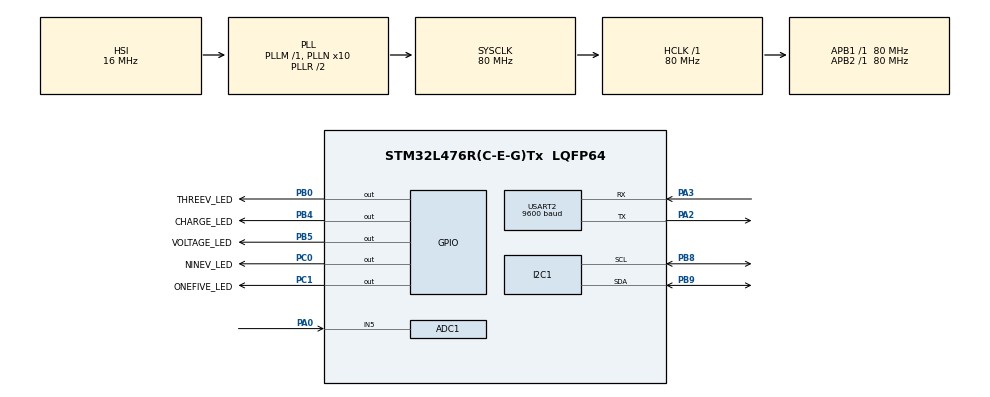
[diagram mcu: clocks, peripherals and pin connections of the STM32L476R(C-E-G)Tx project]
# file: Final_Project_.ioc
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ADC1.Channel-0\#ChannelRegularConversion=ADC_CHANNEL_5
ADC1.NbrOfConversionFlag=1
ADC1.OffsetNumber-0\#ChannelRegularConversion=ADC_OFFSET_NONE
ADC1.Rank-0\#ChannelRegularConversion=1
ADC1.SamplingTime-0\#ChannelRegularConversion=ADC_SAMPLETIME_2CYCLES_5
ADC1.master=1
I2C1.Timing=0x10D19CE4
Mcu.Family=STM32L4
Mcu.Name=STM32L476R(C-E-G)Tx
Mcu.Package=LQFP64
NVIC.PriorityGroup=NVIC_PRIORITYGROUP_4
NVIC.TIM1_UP_TIM16_IRQn=true\:0\:0\:false\:false\:true\:true\:true\:true
NVIC.USART2_IRQn=true\:0\:0\:false\:false\:true\:true\:true\:true
PA0.Signal=ADCx_IN5
PA13\ (JTMS-SWDIO).GPIO_Label=TMS
PA13\ (JTMS-SWDIO).Mode=Serial_Wire
PA13\ (JTMS-SWDIO).Signal=SYS_JTMS-SWDIO
PA14\ (JTCK-SWCLK).GPIO_Label=TCK
PA14\ (JTCK-SWCLK).Mode=Serial_Wire
PA14\ (JTCK-SWCLK).Signal=SYS_JTCK-SWCLK
PA2.Mode=Asynchronous
PA2.Signal=USART2_TX
PA3.Mode=Asynchronous
PA3.Signal=USART2_RX
PB0.GPIO_Label=THREEV_LED
PB0.Signal=GPIO_Output
PB3\ (JTDO-TRACESWO).GPIO_Label=SWO
PB3\ (JTDO-TRACESWO).Signal=SYS_JTDO-SWO
PB4\ (NJTRST).GPIO_Label=CHARGE_LED
PB4\ (NJTRST).Signal=GPIO_Output
PB5.GPIO_Label=VOLTAGE_LED
PB5.Signal=GPIO_Output
PB8.Mode=I2C
PB8.Signal=I2C1_SCL
PB9.Mode=I2C
PB9.Signal=I2C1_SDA
PC0.GPIO_Label=NINEV_LED
PC0.Signal=GPIO_Output
PC1.GPIO_Label=ONEFIVE_LED
PC1.Signal=GPIO_Output
PC14-OSC32_IN\ (PC14).Mode=LSE-External-Oscillator
PC14-OSC32_IN\ (PC14).Signal=RCC_OSC32_IN
PC15-OSC32_OUT\ (PC15).Mode=LSE-External-Oscillator
PC15-OSC32_OUT\ (PC15).Signal=RCC_OSC32_OUT
PH0-OSC_IN\ (PH0).Signal=RCC_OSC_IN
PH1-OSC_OUT\ (PH1).Signal=RCC_OSC_OUT
ProjectManager.HeapSize=0x200
ProjectManager.StackSize=0x400
ProjectManager.TargetToolchain=STM32CubeIDE
RCC.ADCFreq_Value=64000000
RCC.AHBFreq_Value=80000000
RCC.APB1Freq_Value=80000000
RCC.APB1TimFreq_Value=80000000
RCC.APB2Freq_Value=80000000
RCC.APB2TimFreq_Value=80000000
RCC.CortexFreq_Value=80000000
RCC.HCLKFreq_Value=80000000
RCC.HSE_VALUE=8000000
RCC.HSI_VALUE=16000000
RCC.MSI_VALUE=4000000
RCC.PLLN=10
RCC.PLLSourceVirtual=RCC_PLLSOURCE_HSI
RCC.PREFETCH_ENABLE=1
RCC.SYSCLKFreq_VALUE=80000000
RCC.SYSCLKSource=RCC_SYSCLKSOURCE_PLLCLK
RCC.USBFreq_Value=64000000
RCC.VCOOutputFreq_Value=160000000
SH.ADCx_IN5.0=ADC1_IN5,IN5-Single-Ended
TIM16.Period=999
TIM16.Prescaler=7999
USART2.BaudRate=9600
USART2.VirtualMode-Asynchronous=VM_ASYNC
VP_TIM16_VS_ClockSourceINT.Mode=Enable_Timer
board=NUCLEO-L476RG

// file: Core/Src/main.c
/* USER CODE BEGIN Header */
/**
  ******************************************************************************
  * @file           : main.c
  * @brief          : Main program body
  ******************************************************************************
  * @attention
  *
  * Copyright (c) 2025 STMicroelectronics.
  * All rights reserved.
  *
  * This software is licensed under terms that can be found in the LICENSE file
  * in the root directory of this software component.
  * If no LICENSE file comes with this software, it is provided AS-IS.
  *
  ******************************************************************************
  */
/* USER CODE END Header */
#include "main.h"

/* USER CODE BEGIN Includes */
#include "string.h"  // library for C strings
#include <stdbool.h> // library for bool data type
#include <stdio.h>

/* USER CODE END Includes */

/* USER CODE BEGIN PM */

#define I2C_ADDR 0x27 // I2C address of the PCF8574
#define RS_BIT 0 // Register select bit
#define EN_BIT 2 // Enable bit
#define BL_BIT 3 // Backlight bit
#define D4_BIT 4 // Data 4 bit
#define D5_BIT 5 // Data 5 bit
#define D6_BIT 6 // Data 6 bit
#define D7_BIT 7 // Data 7 bit
#define LCD_ROWS 2 // Number of rows on the LCD
#define LCD_COLS 16 // Number of columns on the LCD
#define UART_DELAY 100 // wait max of 100 ms between frames in message
#define MAX_MESSAGE_SIZE 100 // 100 characters maximum message size

/* USER CODE END PM */

ADC_HandleTypeDef hadc1;

I2C_HandleTypeDef hi2c1;

TIM_HandleTypeDef htim16;

UART_HandleTypeDef huart2;

/* USER CODE BEGIN PV */
uint8_t backlight_state = 1;  // State of the black light of the LCD
uint8_t message[MAX_MESSAGE_SIZE]  = {0}; // char array to store message received
uint8_t response[MAX_MESSAGE_SIZE] = {0}; // char array to store response message
uint8_t uart2_byte; // byte received from UART2
uint8_t buffer_position = 0; // how many bytes received so far

// Variables for volate and percetange calculation
float battery_voltage;
float battery_percentage;
float nivev_measurement_max = 3640.1;
float onefivev_measurement_max = 603.0;
float threev_measurement_max = 1204.5;

// Variables for selecting the different types of batterys that will be measured
bool ninev_battery = false;
bool one_fivev_battery = false;
bool threev_battery = false;

// Variable that helps in resetting the system
bool reset_system = false;

/* USER CODE END PV */

void SystemClock_Config(void);
static void MX_GPIO_Init(void);
static void MX_ADC1_Init(void);
static void MX_TIM16_Init(void);
static void MX_I2C1_Init(void);
static void MX_USART2_UART_Init(void);
/* USER CODE BEGIN PFP */

// Functions that help displaying the voltage and percentage
void display_voltage(float battery_voltage);
void display_charge(float battery_percentage);

// Functions that help calculating the voltage
float threev_voltage(float battery_percentage);
float onefivev_voltage(float battery_percentage);
float ninev_voltage(float battery_percentage);

// Functions that help calculating the percentage
float ninev_percentage(uint16_t analog_measurement);
float onefivev_percentage(uint16_t analog_measurement);
float threev_percentage(uint16_t analog_measurement);

/* USER CODE END PFP */

/* USER CODE BEGIN 0 */

/* THESE FUNCTIONS HELP IN SETTING UP THE LCD */

// This function helps in creating the data or command htat will be sent
void lcd_write_nibble(uint8_t nibble, uint8_t rs)
{
	uint8_t data = nibble << D4_BIT;
	data |= rs << RS_BIT;
	data |= backlight_state << BL_BIT; // Include backlight state in data
	data |= 1 << EN_BIT;
	HAL_I2C_Master_Transmit(&hi2c1, I2C_ADDR << 1, &data, 1, 100);
	HAL_Delay(1);
	data &= ~(1 << EN_BIT);
	HAL_I2C_Master_Transmit(&hi2c1, I2C_ADDR << 1, &data, 1, 100);
}

// THis function helps in sending the command into the LCD
void lcd_send_cmd(uint8_t cmd)
{
	uint8_t upper_nibble = cmd >> 4;
	uint8_t lower_nibble = cmd & 0x0F;
	lcd_write_nibble(upper_nibble, 0);
	lcd_write_nibble(lower_nibble, 0);

	if (cmd == 0x01 || cmd == 0x02)
	{
		HAL_Delay(2);
	}

}

// This function helps in sending the data into the LCD
void lcd_send_data(uint8_t data)
{
	uint8_t upper_nibble = data >> 4;
	uint8_t lower_nibble = data & 0x0F;
	lcd_write_nibble(upper_nibble, 1);
	lcd_write_nibble(lower_nibble, 1);
}

// This function helps in initialzing the LCD
void lcd_init()
{
	HAL_Delay(50);
	lcd_write_nibble(0x03, 0);
	HAL_Delay(5);
	lcd_write_nibble(0x03, 0);
	HAL_Delay(1);
	lcd_write_nibble(0x03, 0);
	HAL_Delay(1);
	lcd_write_nibble(0x02, 0);
	lcd_send_cmd(0x28);
	lcd_send_cmd(0x0C);
	lcd_send_cmd(0x06);
	lcd_send_cmd(0x01);
	HAL_Delay(2);
}

// This function helps in writing into the LCD
void lcd_write_string(char *str)
{
	while (*str)
	{
		lcd_send_data(*str++);
	}
}

// This function helps in the setting the cursor on the LCD
void lcd_set_cursor(uint8_t row, uint8_t column)
{
	uint8_t address;
	switch (row)
	{
		case 0:
		address = 0x00;
		break;
		case 1:
		address = 0x40;
		break;
		default:
		address = 0x00;
	}

	address += column;
	lcd_send_cmd(0x80 | address);
}

// This function clears the LCD
void lcd_clear(void)
{
	lcd_send_cmd(0x01);
	HAL_Delay(2);
}

// This function sets the state of the backlight
void lcd_backlight(uint8_t state)
{
	if (state)
	{
		backlight_state = 1;
	}

	else
	{
		backlight_state = 0;
	}
}

// LCD DISPLAY FUNCTIONS

// Function to display the voltage on the LCD
void display_voltage(float battery_voltage) {
    char buffer[16];
    sprintf(buffer, "Voltage: %.1fV", battery_voltage);  // Format the voltage string
    lcd_set_cursor(0, 0);  // Set cursor to the first row
    lcd_write_string(buffer);  // Display the voltage value on the LCD

}

// Function to display the charge percentage on the LCD
void display_charge(float battery_percentage) {
    char buffer[16];
    sprintf(buffer, "Charge: %.1f%%", battery_percentage);  // Format the charge percentage string
    lcd_set_cursor(1, 0);  // Set cursor to the second row
    lcd_write_string(buffer);  // Display the charge percentage on the LCD

}

// END LCD DISPLAY FUNCTIONS

// 9 VOLTS BATTERY CALCULATION FUNCTIONS //

// This function calculates the percentage for nine volt batteries
float ninev_percentage(uint16_t analog_measurement)
{
	  // Calculating percentage
	  battery_percentage = (analog_measurement / nivev_measurement_max ) * 100;

	  // Return value
	  return battery_percentage;

} // End of function

// This function calculates the volts for nine volt batteries
float ninev_voltage(float battery_percentage)
{
	  // Calculating voltage
	  battery_voltage = (battery_percentage * 9.0) / 100;

	  // Return value
	  return battery_voltage;

}	// End of function

// END OF 9 VOLTS BATTERY CALCULATION FUNCTIONS //

// 1.5 VOLTS BATTERY CALCULATION FUNCTIONS //

// This function calculates the percentage for 1.5 volt batteries
float onefivev_percentage(uint16_t analog_measurement)
{
	  // Calculating percentage
	  battery_percentage = (analog_measurement / onefivev_measurement_max ) * 100;

	  // Return value
	  return battery_percentage;

}	// End of function

// This function calculates the volts for 1.5 volt batteries
float onefivev_voltage(float battery_percentage)
{
	  // Calculating voltage
	  battery_voltage = (battery_percentage * 1.5) / 100;

	  // Return value
	  return battery_voltage;

}	// End of function

// END OF 1.5 VOLTS BATTERY CALCULATION FUNCTIONS //

// 3 VOLTS BATTERY CALCULATION FUNCTIONS //

// This function calculates the percentage for 3 volt batteries
float threev_percentage(uint16_t analog_measurement)
{
	  // Calculating percentage
	  battery_percentage = (analog_measurement / threev_measurement_max ) * 100;

	  // Return value
	  return battery_percentage;

} // End of function

// This function calculates the voltage for 3 volt batteries
float threev_voltage(float battery_percentage)
{
	  // Calculating voltage
	  battery_voltage = (battery_percentage * 3.0) / 100;

	  // Return value
	  return battery_voltage;

} // End of function

// END OF 3 VOLTS BATTERY CALCULATION FUNCTIONS //

// This function makes sure that the percentage values are valid percentages
float percentage_bounds(float battery_percentage)
{
	  // If that checks if the battery percentage is less than a valid number
	  if (battery_percentage < 0)
	  {
		  // Percentage is 0
		  battery_percentage = 0.0;

		  // Return correct value
		  return battery_percentage;

	  } // End of if

	  // If that checks if the battery percentage is greater than a valid number
	  else if (battery_percentage > 100)
	  {
		  // Percentage is 100
		  battery_percentage = 100.0;

		  // Return the correct value
		  return battery_percentage;

	  } // End of else if

	  // Return the good value
	  return battery_percentage;

} // End of function

/* USER CODE END 0 */

int main(void)
{

  /* MCU Configuration--------------------------------------------------------*/

  /* Reset of all peripherals, Initializes the Flash interface and the Systick. */
  HAL_Init();

  /* Configure the system clock */
  SystemClock_Config();

  /* Initialize all configured peripherals */
  MX_GPIO_Init();
  MX_ADC1_Init();
  MX_TIM16_Init();
  MX_I2C1_Init();
  MX_USART2_UART_Init();
  /* USER CODE BEGIN 2 */

  HAL_TIM_Base_Start_IT(&htim16); // Start Timer16

  // I2C pull-up resistors
  GPIOB->PUPDR |= 0b01 << (8*2);
  GPIOB->PUPDR |= 0b01 << (9*2);

  // Initialize the LCD
  lcd_init();
  lcd_backlight(1); // Turn on backlight

  HAL_UART_Receive_IT(&huart2, &uart2_byte, 1); // put byte from UART2 in "uart2_byte"

  /* USER CODE END 2 */

  /* Infinite loop */
  while (1)
  {

    /* USER CODE BEGIN 3 */

	  // Start ADC Conversion
	  HAL_ADC_Start(&hadc1);

	  // Wait for ADC conversion to complete
	  HAL_ADC_PollForConversion(&hadc1, HAL_MAX_DELAY);

	  // Read ADC value
	  uint16_t analog_measurement = HAL_ADC_GetValue(&hadc1);

	  // Delay 1 ms
	  HAL_Delay(1);

	  // If the view 9v battery message was displayed
	  if (ninev_battery)
	  {
		  // Calculate the percentage
		  battery_percentage = ninev_percentage(analog_measurement);

		  // Correct bounds of battery percentage
		  battery_percentage = percentage_bounds(battery_percentage);

		  // Calculate the voltage
		  battery_voltage = ninev_voltage(battery_percentage);

		  // if the other types were activated
		  if (one_fivev_battery || threev_battery)
		  {
			  // Clear LCD and turn off other battery types
			  lcd_clear();
			  one_fivev_battery = false;
			  threev_battery = false;

		  } // End of if

		  // Show the voltage on LCD
	      display_voltage(battery_voltage);
		  // Show the charge percentage on LCD
		  display_charge(battery_percentage);

	  } // End of if

	  // If the view 1.5v battery message was displayed
	  if (one_fivev_battery)
	  {
		  // Calculate the percentage
		  battery_percentage = onefivev_percentage(analog_measurement);

		  // Correct bounds of battery percentage
		  battery_percentage = percentage_bounds(battery_percentage);

		  // Calculate the voltage
		  battery_voltage = onefivev_voltage(battery_percentage);

		  // if the other types were activated
		  if (ninev_battery || threev_battery)
		  {
			  // Clear LCD and turn off other battery types
			  lcd_clear();
			  ninev_battery = false;
			  threev_battery = false;

		  } // End of if

		  // SHow the voltage on LCD
	      display_voltage(battery_voltage);
		  // Show the charge percentage on LCD
		  display_charge(battery_percentage);

	  } // End of if

	  // If the view 9v battery message was displayed
	  if (threev_battery)
	  {
		  // Calculate the percentage
		  battery_percentage = threev_percentage(analog_measurement);

		  // Correct bounds of battery percentage
		  battery_percentage = percentage_bounds(battery_percentage);

		  // Calculate the voltage
		  battery_voltage = threev_voltage(battery_percentage);

		  // if the other types were activated
		  if (one_fivev_battery || ninev_battery)
		  {
			  // Clear LCD and turn off other battery types
			  lcd_clear();
			  one_fivev_battery = false;
			  ninev_battery = false;

		  } // End of if

		  // Show the voltage on LCD
	      display_voltage(battery_voltage);
		  // Show the charge percentage on LCD
		  display_charge(battery_percentage);

	  } // End of if

	  // If the reset sequence was activated
	  if(reset_system)
	  {
		  // Clear the screen
		  lcd_clear();

		  // Stop reset sequence
		  reset_system = false;

	  } // End of if

  } // End of while loop

  /* USER CODE END 3 */
}

void SystemClock_Config(void)
{
  RCC_OscInitTypeDef RCC_OscInitStruct = {0};
  RCC_ClkInitTypeDef RCC_ClkInitStruct = {0};

  /** Configure the main internal regulator output voltage
  */
  if (HAL_PWREx_ControlVoltageScaling(PWR_REGULATOR_VOLTAGE_SCALE1) != HAL_OK)
  {
    Error_Handler();
  }

  /** Initializes the RCC Oscillators according to the specified parameters
  * in the RCC_OscInitTypeDef structure.
  */
  RCC_OscInitStruct.OscillatorType = RCC_OSCILLATORTYPE_HSI;
  RCC_OscInitStruct.HSIState = RCC_HSI_ON;
  RCC_OscInitStruct.HSICalibrationValue = RCC_HSICALIBRATION_DEFAULT;
  RCC_OscInitStruct.PLL.PLLState = RCC_PLL_ON;
  RCC_OscInitStruct.PLL.PLLSource = RCC_PLLSOURCE_HSI;
  RCC_OscInitStruct.PLL.PLLM = 1;
  RCC_OscInitStruct.PLL.PLLN = 10;
  RCC_OscInitStruct.PLL.PLLP = RCC_PLLP_DIV7;
  RCC_OscInitStruct.PLL.PLLQ = RCC_PLLQ_DIV2;
  RCC_OscInitStruct.PLL.PLLR = RCC_PLLR_DIV2;
  if (HAL_RCC_OscConfig(&RCC_OscInitStruct) != HAL_OK)
  {
    Error_Handler();
  }

  /** Initializes the CPU, AHB and APB buses clocks
  */
  RCC_ClkInitStruct.ClockType = RCC_CLOCKTYPE_HCLK|RCC_CLOCKTYPE_SYSCLK
                              |RCC_CLOCKTYPE_PCLK1|RCC_CLOCKTYPE_PCLK2;
  RCC_ClkInitStruct.SYSCLKSource = RCC_SYSCLKSOURCE_PLLCLK;
  RCC_ClkInitStruct.AHBCLKDivider = RCC_SYSCLK_DIV1;
  RCC_ClkInitStruct.APB1CLKDivider = RCC_HCLK_DIV1;
  RCC_ClkInitStruct.APB2CLKDivider = RCC_HCLK_DIV1;

  if (HAL_RCC_ClockConfig(&RCC_ClkInitStruct, FLASH_LATENCY_4) != HAL_OK)
  {
    Error_Handler();
  }
}

static void MX_ADC1_Init(void)
{

  ADC_MultiModeTypeDef multimode = {0};
  ADC_ChannelConfTypeDef sConfig = {0};

  /** Common config
  */
  hadc1.Instance = ADC1;
  hadc1.Init.ClockPrescaler = ADC_CLOCK_ASYNC_DIV1;
  hadc1.Init.Resolution = ADC_RESOLUTION_12B;
  hadc1.Init.DataAlign = ADC_DATAALIGN_RIGHT;
  hadc1.Init.ScanConvMode = ADC_SCAN_DISABLE;
  hadc1.Init.EOCSelection = ADC_EOC_SINGLE_CONV;
  hadc1.Init.LowPowerAutoWait = DISABLE;
  hadc1.Init.ContinuousConvMode = DISABLE;
  hadc1.Init.NbrOfConversion = 1;
  hadc1.Init.DiscontinuousConvMode = DISABLE;
  hadc1.Init.ExternalTrigConv = ADC_SOFTWARE_START;
  hadc1.Init.ExternalTrigConvEdge = ADC_EXTERNALTRIGCONVEDGE_NONE;
  hadc1.Init.DMAContinuousRequests = DISABLE;
  hadc1.Init.Overrun = ADC_OVR_DATA_PRESERVED;
  hadc1.Init.OversamplingMode = DISABLE;
  if (HAL_ADC_Init(&hadc1) != HAL_OK)
  {
    Error_Handler();
  }

  /** Configure the ADC multi-mode
  */
  multimode.Mode = ADC_MODE_INDEPENDENT;
  if (HAL_ADCEx_MultiModeConfigChannel(&hadc1, &multimode) != HAL_OK)
  {
    Error_Handler();
  }

  /** Configure Regular Channel
  */
  sConfig.Channel = ADC_CHANNEL_5;
  sConfig.Rank = ADC_REGULAR_RANK_1;
  sConfig.SamplingTime = ADC_SAMPLETIME_2CYCLES_5;
  sConfig.SingleDiff = ADC_SINGLE_ENDED;
  sConfig.OffsetNumber = ADC_OFFSET_NONE;
  sConfig.Offset = 0;
  if (HAL_ADC_ConfigChannel(&hadc1, &sConfig) != HAL_OK)
  {
    Error_Handler();
  }

}

static void MX_I2C1_Init(void)
{

  hi2c1.Instance = I2C1;
  hi2c1.Init.Timing = 0x10D19CE4;
  hi2c1.Init.OwnAddress1 = 0;
  hi2c1.Init.AddressingMode = I2C_ADDRESSINGMODE_7BIT;
  hi2c1.Init.DualAddressMode = I2C_DUALADDRESS_DISABLE;
  hi2c1.Init.OwnAddress2 = 0;
  hi2c1.Init.OwnAddress2Masks = I2C_OA2_NOMASK;
  hi2c1.Init.GeneralCallMode = I2C_GENERALCALL_DISABLE;
  hi2c1.Init.NoStretchMode = I2C_NOSTRETCH_DISABLE;
  if (HAL_I2C_Init(&hi2c1) != HAL_OK)
  {
    Error_Handler();
  }

  /** Configure Analogue filter
  */
  if (HAL_I2CEx_ConfigAnalogFilter(&hi2c1, I2C_ANALOGFILTER_ENABLE) != HAL_OK)
  {
    Error_Handler();
  }

  /** Configure Digital filter
  */
  if (HAL_I2CEx_ConfigDigitalFilter(&hi2c1, 0) != HAL_OK)
  {
    Error_Handler();
  }

}

static void MX_TIM16_Init(void)
{

  htim16.Instance = TIM16;
  htim16.Init.Prescaler = 7999;
  htim16.Init.CounterMode = TIM_COUNTERMODE_UP;
  htim16.Init.Period = 999;
  htim16.Init.ClockDivision = TIM_CLOCKDIVISION_DIV1;
  htim16.Init.RepetitionCounter = 0;
  htim16.Init.AutoReloadPreload = TIM_AUTORELOAD_PRELOAD_DISABLE;
  if (HAL_TIM_Base_Init(&htim16) != HAL_OK)
  {
    Error_Handler();
  }

}

static void MX_USART2_UART_Init(void)
{

  huart2.Instance = USART2;
  huart2.Init.BaudRate = 9600;
  huart2.Init.WordLength = UART_WORDLENGTH_8B;
  huart2.Init.StopBits = UART_STOPBITS_1;
  huart2.Init.Parity = UART_PARITY_NONE;
  huart2.Init.Mode = UART_MODE_TX_RX;
  huart2.Init.HwFlowCtl = UART_HWCONTROL_NONE;
  huart2.Init.OverSampling = UART_OVERSAMPLING_16;
  huart2.Init.OneBitSampling = UART_ONE_BIT_SAMPLE_DISABLE;
  huart2.AdvancedInit.AdvFeatureInit = UART_ADVFEATURE_NO_INIT;
  if (HAL_UART_Init(&huart2) != HAL_OK)
  {
    Error_Handler();
  }

}

static void MX_GPIO_Init(void)
{
  GPIO_InitTypeDef GPIO_InitStruct = {0};

  /* GPIO Ports Clock Enable */
  __HAL_RCC_GPIOC_CLK_ENABLE();
  __HAL_RCC_GPIOH_CLK_ENABLE();
  __HAL_RCC_GPIOA_CLK_ENABLE();
  __HAL_RCC_GPIOB_CLK_ENABLE();

  /*Configure GPIO pin Output Level */
  HAL_GPIO_WritePin(GPIOC, NINEV_LED_Pin|ONEFIVE_LED_Pin, GPIO_PIN_RESET);

  /*Configure GPIO pin Output Level */
  HAL_GPIO_WritePin(GPIOB, THREEV_LED_Pin|CHARGE_LED_Pin|VOLTAGE_LED_Pin, GPIO_PIN_RESET);

  /*Configure GPIO pins : NINEV_LED_Pin ONEFIVE_LED_Pin */
  GPIO_InitStruct.Pin = NINEV_LED_Pin|ONEFIVE_LED_Pin;
  GPIO_InitStruct.Mode = GPIO_MODE_OUTPUT_PP;
  GPIO_InitStruct.Pull = GPIO_NOPULL;
  GPIO_InitStruct.Speed = GPIO_SPEED_FREQ_LOW;
  HAL_GPIO_Init(GPIOC, &GPIO_InitStruct);

  /*Configure GPIO pins : THREEV_LED_Pin CHARGE_LED_Pin VOLTAGE_LED_Pin */
  GPIO_InitStruct.Pin = THREEV_LED_Pin|CHARGE_LED_Pin|VOLTAGE_LED_Pin;
  GPIO_InitStruct.Mode = GPIO_MODE_OUTPUT_PP;
  GPIO_InitStruct.Pull = GPIO_NOPULL;
  GPIO_InitStruct.Speed = GPIO_SPEED_FREQ_LOW;
  HAL_GPIO_Init(GPIOB, &GPIO_InitStruct);

}

/* USER CODE BEGIN 4 */

void HAL_UART_RxCpltCallback(UART_HandleTypeDef *huart){

    // Check if byte received was on UART2 (from laptop)
    if (huart == &huart2)
    {

        // If we get here, it means we received a byte from UART2 and it was placed in "uart2_byte"

        // If uart2_byte isn't \r, \n, or \0, it means the message isn't over yet
        if ((uart2_byte != '\r') && (uart2_byte != '\n') && (uart2_byte != '\0')){

            // Add uart2_byte to the message
            message[buffer_position] = uart2_byte;
            buffer_position++;

     }

     else
     {
            // If we get here, it means we received \r, \n, or \0 and the message is over

            // Check message
            if (strcmp((char*)message, "VIEW_9V") == 0)
            {
            	// Activate 9v battery calculation sequence
            	ninev_battery = true;

                // Deactivate not needed LEDs and activate LED needed
            	HAL_GPIO_WritePin(NINEV_LED_GPIO_Port, NINEV_LED_Pin, 1);
            	HAL_GPIO_WritePin(ONEFIVE_LED_GPIO_Port, ONEFIVE_LED_Pin, 0);
            	HAL_GPIO_WritePin(THREEV_LED_GPIO_Port, THREEV_LED_Pin, 0);

                // Prepare response message
                strncpy((char*)response, "Task complete - 9V Battery values displayed.\n\r", MAX_MESSAGE_SIZE);

            } // End of if

            // Check message
            else if (strcmp((char*)message, "VIEW_1.5V") == 0)
            {
            	// Activate 1.5v battery calculation sequence
            	one_fivev_battery = true;

                // Deactivate not needed LEDs and activate LED needed
            	HAL_GPIO_WritePin(NINEV_LED_GPIO_Port, NINEV_LED_Pin, 0);
            	HAL_GPIO_WritePin(ONEFIVE_LED_GPIO_Port, ONEFIVE_LED_Pin, 1);
            	HAL_GPIO_WritePin(THREEV_LED_GPIO_Port, THREEV_LED_Pin, 0);

            	// Prepare response message
                strncpy((char*)response, "Task complete - 1.5V Battery values displayed.\n\r", MAX_MESSAGE_SIZE);

            } // End of else if

            // Check message
			else if (strcmp((char*)message, "VIEW_3V") == 0)
			{
            	// Activate 3v battery calculation sequence
            	threev_battery = true;

                // Deactivate not needed LEDs and activate LED needed
            	HAL_GPIO_WritePin(NINEV_LED_GPIO_Port, NINEV_LED_Pin, 0);
            	HAL_GPIO_WritePin(ONEFIVE_LED_GPIO_Port, ONEFIVE_LED_Pin, 0);
            	HAL_GPIO_WritePin(THREEV_LED_GPIO_Port, THREEV_LED_Pin, 1);

				// Prepare response message
				strncpy((char*)response, "Task complete - 3V Battery values displayed.\n\r", MAX_MESSAGE_SIZE);

			} // End of else if

            // Check message
			else if (strcmp((char*)message, "RESET") == 0)
			{
            	// Deactivate 3v battery calculation sequence
            	threev_battery = false;
            	// Deactivate 1.5v battery calculation sequence
            	one_fivev_battery = false;
            	// Deactivate 9v battery calculation sequence
            	ninev_battery = false;

                // Deactivate all LEDs
            	HAL_GPIO_WritePin(NINEV_LED_GPIO_Port, NINEV_LED_Pin, 0);
            	HAL_GPIO_WritePin(ONEFIVE_LED_GPIO_Port, ONEFIVE_LED_Pin, 0);
            	HAL_GPIO_WritePin(THREEV_LED_GPIO_Port, THREEV_LED_Pin, 0);

            	// Activate reset sequence
            	reset_system = true;

				// Prepare response message
				strncpy((char*)response, "Task complete - System successfully reset.\n\r", MAX_MESSAGE_SIZE);

			} // End of else if

            // Else if the message was not valid
             else {

                // Else message was not recognized
                strncpy((char*)response, "Task not recognized.\n\r", MAX_MESSAGE_SIZE);

             } // End of else

            // Send the response message to laptop
            HAL_UART_Transmit(&huart2, response, strlen(response), UART_DELAY);

            // Zero out message array and response array to get ready for the next message
            memset(message,  0, sizeof(message));
            memset(response, 0, sizeof(response));
            buffer_position = 0;

        }

        // Restart UART2's receive interrupt to wait for next byte
        HAL_UART_Receive_IT(&huart2, &uart2_byte, 1); //start next byte receive interrupt
    }
}

/* USER CODE END 4 */

void Error_Handler(void)
{
  __disable_irq();
  while (1)
  {
  }
}
